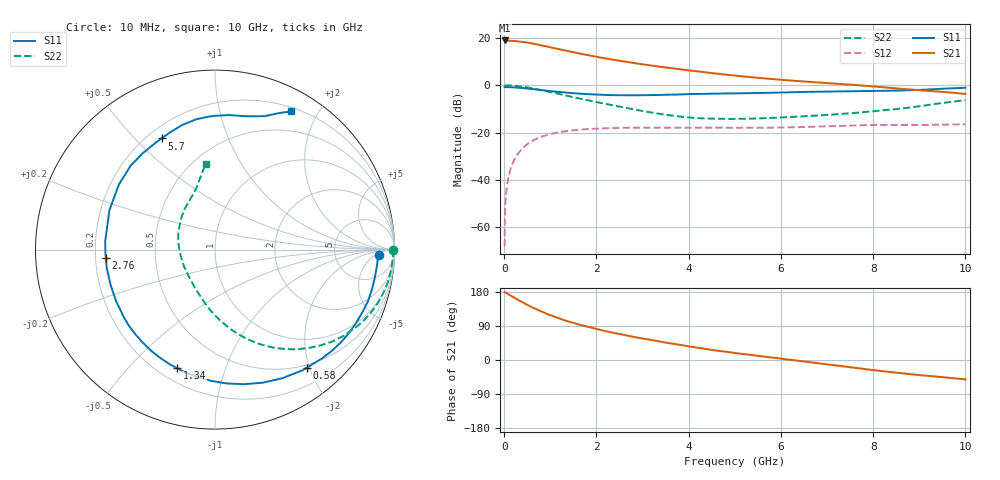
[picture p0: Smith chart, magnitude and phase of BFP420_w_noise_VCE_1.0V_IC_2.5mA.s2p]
! Infineon Technologies  Discrete & RF Semiconductors
! BFP420
! VCE =  1.0 V,  IC =  2.5 mA
! Common Emitter S-Parameters:  Jan 2016
# GHz  S  MA  R  50
!  f  S11  S21  S12  S22
! GHz  MAG  ANG  MAG  ANG  MAG  ANG  MAG  ANG
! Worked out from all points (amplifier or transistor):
!   233 points, 10 MHz to 10 GHz, reference 50 ohm
!   highest |S21| = 18.9 dB at 10 MHz (marker M1)
!   |S21| within 3 dB of that: start of sweep to 1.033 GHz
!   unconditionally stable (mu >= 1): 3.651 GHz to end of sweep
!   at 200 MHz: K = 0.03, MSG = 25.5 dB, |S12| = -32.3 dB
!   at 1.74 GHz: K = 0.44, MSG = 15.8 dB, |S12| = -18.6 dB
!   at 10 GHz: K = 1.18, MAG = 3.9 dB, |S12| = -16.5 dB
!   lowest NFmin = 0.55 dB at 900 MHz
!   S11 on the Smith chart (normalised r, x): 10 MHz: 20, -7; 580 MHz: 0.45, -1.96; 1.34 GHz: 0.27, -0.70; 2.76 GHz: 0.24, -0.04; 5.7 GHz: 0.26, +0.60; 10 GHz: 0.25, +1.67
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0.01  0.9135 -1.8  8.762 179.4  0.0004 95.7  0.9909 -0.1
0.015  0.9108 -1.8  8.659 179.2  0.0014 91.7  0.9913 -0.6
0.03  0.9079 -2.8  8.571 178.1  0.0036 88.8  0.9916 -1.7
0.11  0.9039 -10.3  8.637 172.2  0.0135 84.2  0.9876 -6.6
0.2  0.8997 -18.5  8.566 165.9  0.0242 79.6  0.9764 -11.9
0.36  0.8766 -33.2  8.271 154.8  0.0423 71.1  0.9411 -21.1
0.48  0.8542 -43.7  7.959 146.9  0.0546 65.1  0.9049 -27.5
0.58  0.833 -52.2  7.662 140.7  0.0638 60.3  0.8702 -32.6
0.7  0.8089 -62.3  7.29 133.6  0.0737 55.1  0.8269 -38.5
0.9  0.7674 -77.7  6.626 122.9  0.0871 47.3  0.7521 -47.0
1.1  0.7312 -91.9  6 113.6  0.0975 40.7  0.6808 -54.5
1.34  0.6942 -107.6  5.33 103.7  0.1068 33.8  0.6031 -62.5
1.68  0.657 -127.1  4.553 91.7  0.1157 26.0  0.5106 -72.2
2.2  0.6214 -152.4  3.655 76.2  0.1234 16.8  0.402 -85.0
2.76  0.6103 -175.7  2.974 62.2  0.1267 9.2  0.3144 -98.6
3.4  0.621 162.8  2.429 48.3  0.1271 2.7  0.2452 -115.7
4.2  0.6506 141.5  1.943 32.4  0.1271 -3.0  0.2015 -141.2
5.1  0.6723 125.0  1.553 17.0  0.1262 -7.3  0.1937 -167.7
5.7  0.6871 115.7  1.371 8.1  0.1265 -9.1  0.2007 176.6
6.8  0.7265 100.6  1.138 -8.5  0.1333 -12.2  0.2284 151.9
8.4  0.7607 77.9  0.87 -32.2  0.1444 -21.8  0.3039 118.6
10  0.8791 61.1  0.653 -51.1  0.1493 -28.2  0.4824 96.2
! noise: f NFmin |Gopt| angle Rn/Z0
0.9  0.55  0.41  33  0.2
1.8  1.02  0.24  78  0.16
2.4  1.11  0.26  103  0.15
3  1.28  0.27  140  0.11
4  1.5  0.34  -163  0.1
5  1.85  0.4  -130  0.26
6  2.56  0.5  -109  0.35
